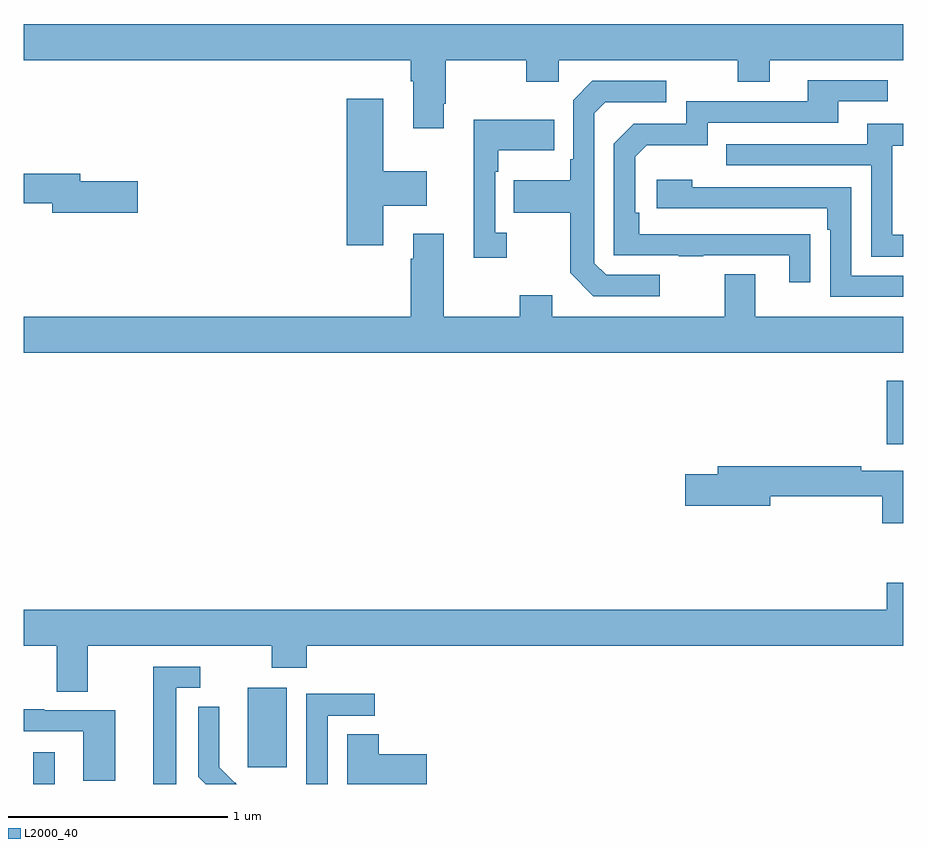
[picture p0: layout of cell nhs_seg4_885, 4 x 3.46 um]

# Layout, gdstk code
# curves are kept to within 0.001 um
import gdstk
lib = gdstk.Library(unit=1e-6, precision=1e-09)
def R(c, l, rs):  # rectangles x0, y0, x1, y1
    for r in rs: c.add(gdstk.rectangle(r[:2], r[2:], *l))
def P(c, l, *ps):  # polygons
    for p in ps: c.add(gdstk.Polygon(p, *l))
L2000_40 = (2000, 40)

nhs_seg4_885 = lib.new_cell('nhs_seg4_885')
R(nhs_seg4_885, L2000_40, [(157.044,754.9,157.141,755.044), (158.018,754.977,158.197,755.338), (160.925,756.446,161,756.733)])
P(nhs_seg4_885, L2000_40, [(158.911,757.993),(158.919,757.993),(158.919,758.192),(159.286,758.192),(159.286,758.093),(159.432,758.093),(159.432,758.192),(160.246,758.192),(160.246,758.093),(160.393,758.093),(160.393,758.192),(161,758.192),(161,758.356),(157,758.356),(157,758.192),(158.759,758.192),(158.759,758.096),(158.771,758.096),(158.771,757.881),(158.911,757.881)],
  [(160.577,757.4),(159.8,757.401),(159.8,757.498),(159.78,757.498),(159.78,757.752),(159.833,757.805),(160.11,757.805),(160.11,757.908),(160.705,757.908),(160.705,758.004),(160.93,758.004),(160.93,758.1),(160.565,758.1),(160.565,758.004),(160.014,758.004),(160.014,757.902),(159.774,757.902),(159.684,757.812),(159.684,757.305),(159.979,757.305),(159.979,757.3),(160.091,757.3),(160.091,757.305),(160.481,757.305),(160.481,757.182),(160.577,757.182)],
  [(159.892,757.215),(159.648,757.215),(159.594,757.269),(159.594,757.95),(159.645,758.001),(159.922,758.001),(159.922,758.097),(159.585,758.097),(159.498,758.01),(159.498,757.741),(159.486,757.741),(159.486,757.645),(159.229,757.645),(159.229,757.498),(159.486,757.498),(159.486,757.225),(159.591,757.119),(159.892,757.119)],
  [(158.635,757.529),(158.833,757.529),(158.833,757.687),(158.635,757.687),(158.635,758.017),(158.468,758.017),(158.468,757.35),(158.635,757.35)],
  [(159.196,757.406),(159.144,757.406),(159.144,757.685),(159.157,757.685),(159.157,757.781),(159.413,757.781),(159.413,757.921),(159.047,757.921),(159.047,757.293),(159.196,757.293)],
  [(161,757.398),(160.95,757.398),(160.95,757.803),(161,757.803),(161,757.903),(160.835,757.903),(160.835,757.809),(160.195,757.809),(160.195,757.713),(160.854,757.713),(160.854,757.297),(161,757.297)],
  [(157.519,757.64),(157.258,757.64),(157.258,757.676),(157,757.676),(157,757.54),(157.13,757.54),(157.13,757.498),(157.519,757.498)],
  [(161,757.212),(160.764,757.212),(160.764,757.614),(160.04,757.614),(160.04,757.648),(159.879,757.648),(159.879,757.518),(160.655,757.518),(160.655,757.421),(160.668,757.421),(160.668,757.116),(161,757.116)],
  [(161,757.024),(160.327,757.024),(160.327,757.219),(160.187,757.219),(160.187,757.024),(159.403,757.024),(159.403,757.123),(159.256,757.123),(159.256,757.024),(158.911,757.024),(158.911,757.402),(158.771,757.402),(158.771,757.289),(158.759,757.289),(158.759,757.024),(157,757.024),(157,756.86),(161,756.86)],
  [(161,756.324),(160.808,756.324),(160.808,756.344),(160.157,756.344),(160.157,756.308),(160.008,756.308),(160.008,756.166),(160.396,756.166),(160.396,756.208),(160.904,756.208),(160.904,756.086),(161,756.086)],
  [(157.291,755.528),(158.128,755.528),(158.128,755.429),(158.288,755.429),(158.288,755.528),(161,755.528),(161,755.816),(160.925,755.816),(160.925,755.692),(157,755.692),(157,755.528),(157.151,755.528),(157.151,755.32),(157.291,755.32)],
  [(157.693,755.337),(157.804,755.337),(157.804,755.433),(157.589,755.433),(157.589,754.9),(157.693,754.9)],
  [(158.382,755.211),(158.596,755.211),(158.596,755.31),(158.286,755.31),(158.286,754.9),(158.382,754.9)],
  [(157.962,754.908),(157.959,754.905),(157.889,754.976),(157.889,755.098),(157.89,755.098),(157.89,755.252),(157.794,755.252),(157.794,754.934),(157.828,754.9),(157.97,754.9)],
  [(157.417,755.235),(157.093,755.235),(157.093,755.239),(157,755.239),(157,755.139),(157.272,755.139),(157.272,754.915),(157.417,754.915)],
  [(158.833,755.036),(158.615,755.036),(158.615,755.126),(158.471,755.126),(158.471,754.9),(158.833,754.9)])

lib.write_gds('nhs_seg4_885.gds')
